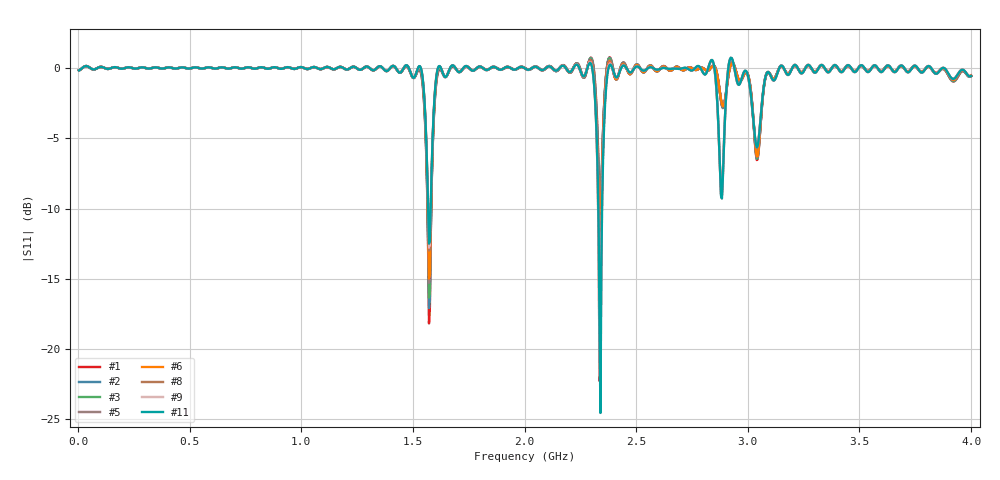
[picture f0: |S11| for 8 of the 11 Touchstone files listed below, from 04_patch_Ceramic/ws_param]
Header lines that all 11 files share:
! TOUCHSTONE file generated by CST MICROWAVE STUDIO
! Project name: AppElm_antenne_patch_Alumina.cst
! Header version: 2018
! Port assignment regex: !\s*Touchstone port\s*([0-9]+)\s*=\s*(CST MWS port|CST DS port)\s*([0-9]+|Zmin|Zmax)\s*\(\"(.*)\"\)(\s*mode\s*([0-9]+))?.*
! Touchstone port assignment:
! Touchstone port 1 = CST MWS port 1 ("")
# GHz S MA R 50
Fixed: L = 30.5, W = 41.8, e = 0.035, h = 1.6, lambda = 0.190476, ls = 90, w0 = 1.12, w1 = 0.373, y0 = 14, y1 = 10
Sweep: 4 MHz to 4 GHz
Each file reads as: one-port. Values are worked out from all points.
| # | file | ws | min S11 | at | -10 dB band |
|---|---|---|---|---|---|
| 1 | AppElm_antenne_patch_Alumina_1.s1p | 67.5 | -18.2 dB | 1.572 GHz | 16.96 MHz wide |
| 2 | AppElm_antenne_patch_Alumina_2.s1p | 72 | -17.1 dB | 1.572 GHz | 16.41 MHz wide |
| 3 | AppElm_antenne_patch_Alumina_3.s1p | 76.5 | -16.3 dB | 1.572 GHz | 15.92 MHz wide |
| 4 | AppElm_antenne_patch_Alumina_4.s1p | 81 | -15.7 dB | 1.572 GHz | 15.45 MHz wide |
| 5 | AppElm_antenne_patch_Alumina_5.s1p | 85.5 | -15.3 dB | 1.572 GHz | 15.05 MHz wide |
| 6 | AppElm_antenne_patch_Alumina_6.s1p | 90 | -15.0 dB | 1.572 GHz | 14.73 MHz wide |
| 7 | AppElm_antenne_patch_Alumina_7.s1p | 94.5 | -14.3 dB | 1.572 GHz | 13.93 MHz wide |
| 8 | AppElm_antenne_patch_Alumina_8.s1p | 99 | -22.3 dB | 2.336 GHz | 12.67 MHz wide |
| 9 | AppElm_antenne_patch_Alumina_9.s1p | 103.5 | -22.0 dB | 2.34 GHz | 16.79 MHz wide |
| 10 | AppElm_antenne_patch_Alumina_10.s1p | 108 | -23.8 dB | 2.34 GHz | 16.9 MHz wide |
| 11 | AppElm_antenne_patch_Alumina_11.s1p | 112.5 | -24.5 dB | 2.34 GHz | 16.94 MHz wide |
